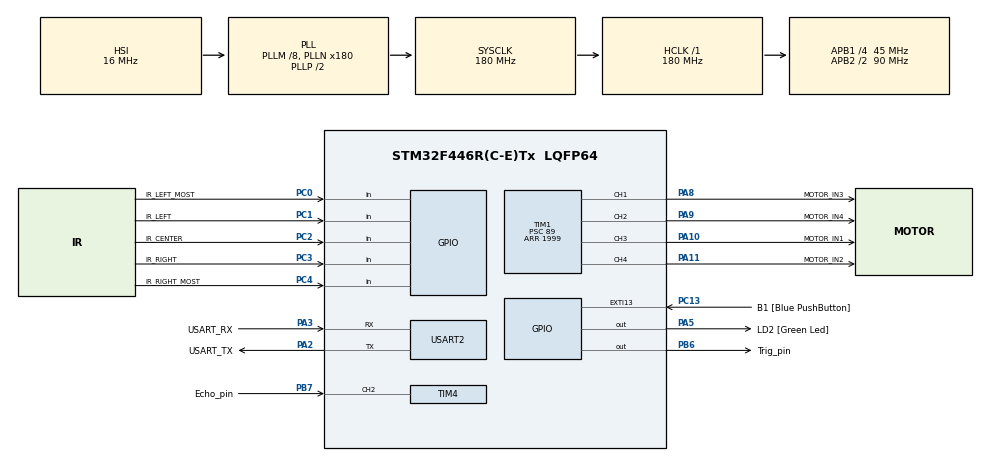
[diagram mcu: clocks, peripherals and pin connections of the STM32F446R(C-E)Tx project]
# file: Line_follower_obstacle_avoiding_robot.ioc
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FREERTOS.Tasks01=defaultTask,24,128,StartDefaultTask,Default,NULL,Dynamic,NULL,NULL
FREERTOS.configTOTAL_HEAP_SIZE=20480
FREERTOS.configUSE_IDLE_HOOK=1
FREERTOS.configUSE_NEWLIB_REENTRANT=1
Mcu.Family=STM32F4
Mcu.Name=STM32F446R(C-E)Tx
Mcu.Package=LQFP64
NVIC.PriorityGroup=NVIC_PRIORITYGROUP_4
NVIC.TIM1_TRG_COM_TIM11_IRQn=true\:5\:0\:false\:false\:true\:false\:false\:true\:true
NVIC.TIM2_IRQn=true\:15\:0\:false\:false\:true\:false\:false\:true\:true
NVIC.TIM4_IRQn=true\:5\:0\:false\:false\:true\:true\:true\:true\:true
NVIC.TimeBase=TIM2_IRQn
NVIC.TimeBaseIP=TIM2
PA10.GPIO_Label=MOTOR_IN1
PA10.Signal=S_TIM1_CH3
PA11.GPIO_Label=MOTOR_IN2
PA11.Signal=S_TIM1_CH4
PA13.GPIO_Label=TMS
PA13.Mode=Trace_Asynchronous_SW
PA13.Signal=SYS_JTMS-SWDIO
PA14.GPIO_Label=TCK
PA14.Mode=Trace_Asynchronous_SW
PA14.Signal=SYS_JTCK-SWCLK
PA2.GPIO_Label=USART_TX
PA2.Mode=Asynchronous
PA2.Signal=USART2_TX
PA3.GPIO_Label=USART_RX
PA3.Mode=Asynchronous
PA3.Signal=USART2_RX
PA5.GPIO_Label=LD2 [Green Led]
PA5.Signal=GPIO_Output
PA8.GPIO_Label=MOTOR_IN3
PA8.Signal=S_TIM1_CH1
PA9.GPIO_Label=MOTOR_IN4
PA9.Signal=S_TIM1_CH2
PB3.GPIO_Label=SWO
PB3.Mode=Trace_Asynchronous_SW
PB3.Signal=SYS_JTDO-SWO
PB6.GPIO_Label=Trig_pin
PB6.Signal=GPIO_Output
PB7.GPIO_Label=Echo_pin
PB7.Signal=S_TIM4_CH2
PC0.GPIO_Label=IR_LEFT_MOST
PC0.Signal=GPIO_Input
PC1.GPIO_Label=IR_LEFT
PC1.Signal=GPIO_Input
PC13.GPIO_Label=B1 [Blue PushButton]
PC13.GPIO_ModeDefaultEXTI=GPIO_MODE_IT_FALLING
PC13.Signal=GPXTI13
PC14-OSC32_IN.Signal=RCC_OSC32_IN
PC15-OSC32_OUT.Signal=RCC_OSC32_OUT
PC2.GPIO_Label=IR_CENTER
PC2.Signal=GPIO_Input
PC3.GPIO_Label=IR_RIGHT
PC3.Signal=GPIO_Input
PC4.GPIO_Label=IR_RIGHT_MOST
PC4.Signal=GPIO_Input
PH0-OSC_IN.Signal=RCC_OSC_IN
PH1-OSC_OUT.Signal=RCC_OSC_OUT
ProjectManager.HeapSize=0x200
ProjectManager.StackSize=0x400
ProjectManager.TargetToolchain=STM32CubeIDE
RCC.AHBFreq_Value=180000000
RCC.APB1CLKDivider=RCC_HCLK_DIV4
RCC.APB1Freq_Value=45000000
RCC.APB1TimFreq_Value=90000000
RCC.APB2CLKDivider=RCC_HCLK_DIV2
RCC.APB2Freq_Value=90000000
RCC.APB2TimFreq_Value=180000000
RCC.CortexFreq_Value=180000000
RCC.FLatency-AdvancedSettings=FLASH_LATENCY_5
RCC.HCLKFreq_Value=180000000
RCC.HSE_VALUE=8000000
RCC.HSI_VALUE=16000000
RCC.LSE_VALUE=32768
RCC.PLLM=8
RCC.PLLN=180
RCC.SYSCLKFreq_VALUE=180000000
RCC.SYSCLKSource=RCC_SYSCLKSOURCE_PLLCLK
RCC.USBFreq_Value=180000000
RCC.VCOOutputFreq_Value=360000000
SH.S_TIM1_CH1.0=TIM1_CH1,PWM Generation1 CH1
SH.S_TIM1_CH2.0=TIM1_CH2,PWM Generation2 CH2
SH.S_TIM1_CH3.0=TIM1_CH3,PWM Generation3 CH3
SH.S_TIM1_CH4.0=TIM1_CH4,PWM Generation4 CH4
SH.S_TIM4_CH2.0=TIM4_CH2,Input_Capture2_from_TI2
TIM1.AutoReloadPreload=TIM_AUTORELOAD_PRELOAD_ENABLE
TIM1.Channel-PWM\ Generation1\ CH1=TIM_CHANNEL_1
TIM1.Channel-PWM\ Generation2\ CH2=TIM_CHANNEL_2
TIM1.Channel-PWM\ Generation3\ CH3=TIM_CHANNEL_3
TIM1.Channel-PWM\ Generation4\ CH4=TIM_CHANNEL_4
TIM1.OCFastMode_PWM-PWM\ Generation1\ CH1=TIM_OCFAST_ENABLE
TIM1.OCFastMode_PWM-PWM\ Generation2\ CH2=TIM_OCFAST_ENABLE
TIM1.OCFastMode_PWM-PWM\ Generation3\ CH3=TIM_OCFAST_ENABLE
TIM1.OCFastMode_PWM-PWM\ Generation4\ CH4=TIM_OCFAST_ENABLE
TIM1.Period=1999
TIM1.Prescaler=89
TIM3.AutoReloadPreload=TIM_AUTORELOAD_PRELOAD_ENABLE
TIM3.Period=1999
TIM3.Prescaler=89
TIM4.Channel-Input_Capture2_from_TI2=TIM_CHANNEL_2
TIM4.ICFilter_CH2=4
TIM4.ICPolarity_CH2=TIM_INPUTCHANNELPOLARITY_BOTHEDGE
TIM4.Prescaler=89
USART2.VirtualMode=VM_ASYNC
VP_FREERTOS_VS_CMSIS_V2.Mode=CMSIS_V2
VP_SYS_VS_tim2.Mode=TIM2
VP_TIM1_VS_ClockSourceINT.Mode=Internal
VP_TIM3_VS_ClockSourceINT.Mode=Internal
VP_TIM4_VS_ClockSourceINT.Mode=Internal
board=NUCLEO-F446RE

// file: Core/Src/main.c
/* USER CODE BEGIN Header */
/**
  ******************************************************************************
  * @file           : main.c
  * @brief          : Main program body
  ******************************************************************************
  * @attention
  *
  *   Author: Hardik Agrawal
  *   Roll No= 22UEC045
  *
  * Copyright (c) 2025 STMicroelectronics.
  * All rights reserved.
  *
  * This software is licensed under terms that can be found in the LICENSE file
  * in the root directory of this software component.
  * If no LICENSE file comes with this software, it is provided AS-IS.
  *
  ******************************************************************************
  */
/* USER CODE END Header */
#include "main.h"
//#include "cmsis_os.h"

/* USER CODE BEGIN Includes */
#include "FreeRTOS.h"
#include "robot_tasks.h"
#include <stdio.h>

/* USER CODE END Includes */

TIM_HandleTypeDef htim1;
TIM_HandleTypeDef htim3;
TIM_HandleTypeDef htim4;
UART_HandleTypeDef huart2;

TaskHandle_t xLineFollowerTaskHandle = NULL;
TaskHandle_t xObstacleTaskHandle    = NULL;
TaskHandle_t xMotorTaskHandle       = NULL;
TaskHandle_t xMonitorTaskHandle     = NULL;

QueueHandle_t xMotorQueue           = NULL;
SemaphoreHandle_t xUltrasonicSemaphore = NULL;
SemaphoreHandle_t xUARTMutex        = NULL;
TimerHandle_t xSensorTimer          = NULL;
/* USER CODE END PV */

void SystemClock_Config(void);
static void MX_GPIO_Init(void);
static void MX_TIM3_Init(void);
static void MX_TIM4_Init(void);
static void MX_USART2_UART_Init(void);
static void MX_TIM1_Init(void);
void StartDefaultTask(void *argument);

/* USER CODE BEGIN 0 */

void HAL_TIM_IC_CaptureCallback(TIM_HandleTypeDef *htim)
{
   Ultrasonic_IC_Callback(htim);
}

int _write(int file, char *ptr, int len)
{
    if (xUARTMutex != NULL && xPortIsInsideInterrupt() == pdFALSE)
    {
        if (xSemaphoreTake(xUARTMutex, 0) == pdPASS)
        {
            HAL_UART_Transmit(&huart2, (uint8_t*)ptr, len, HAL_MAX_DELAY);
            xSemaphoreGive(xUARTMutex);
        }
        else
        {
            /* Mutex busy, drop this print to avoid blocking tasks */
        }
    }
    else
    {
        HAL_UART_Transmit(&huart2, (uint8_t*)ptr, len, HAL_MAX_DELAY);
    }
    return len;
}
/* USER CODE END 0 */

int main(void)
{

  /* MCU Configuration--------------------------------------------------------*/

  /* Reset of all peripherals, Initializes the Flash interface and the Systick. */
  HAL_Init();

  /* Configure the system clock */
  SystemClock_Config();

  /* USER CODE BEGIN SysInit */
   xTraceEnable(TRC_START);
  /* USER CODE END SysInit */

  /* Initialize all configured peripherals */
  MX_GPIO_Init();
  MX_TIM3_Init();
  MX_TIM4_Init();
  MX_USART2_UART_Init();
  MX_TIM1_Init();
  /* USER CODE BEGIN 2 */

  /* Start PWM on all 4 Motor Direction Pins */
  HAL_TIM_PWM_Start(&htim1, TIM_CHANNEL_1); // IN3
  HAL_TIM_PWM_Start(&htim1, TIM_CHANNEL_2); // IN4
  HAL_TIM_PWM_Start(&htim1, TIM_CHANNEL_3); // IN1
  HAL_TIM_PWM_Start(&htim1, TIM_CHANNEL_4); // IN2

  /* Start Input Capture for Ultrasonic Echo */
  HAL_TIM_IC_Start_IT(&htim4, TIM_CHANNEL_2);
  BaseType_t result;
  /* Welcome Message */
 // printf("\r\n\r\n");
  printf("╔════════════════════════════════════════════╗\r\n");
  printf("║   Line Follower Robot - FreeRTOS           ║\r\n");
  printf("║          STM32F446RE Nucleo Board          ║\r\n");
  printf("║         With Obstacle Avoidance            ║\r\n");
  printf("╚════════════════════════════════════════════╝\r\n");
  printf("\r\n");
  printf("[INFO] System Clock: %lu MHz\r\n", SystemCoreClock / 1000000);
  printf("[INFO] FreeRTOS Version: %s\r\n", tskKERNEL_VERSION_NUMBER);
  printf("\r\n[INIT] Initializing FreeRTOS components...\r\n\r\n");

  // ---- MUTEX ----
  xUARTMutex = xSemaphoreCreateMutex();
  if (xUARTMutex) printf("[INIT] ✓ UART Mutex created\r\n");

  // ---- SEMAPHORE ----
  xUltrasonicSemaphore = xSemaphoreCreateBinary();
  if (xUltrasonicSemaphore) {
      xSemaphoreGive(xUltrasonicSemaphore);
      printf("[INIT] ✓ Ultrasonic Binary Semaphore created\r\n");
  }

  // ---- TIMER ----
  xSensorTimer = xTimerCreate("SensorTimer", pdMS_TO_TICKS(500), pdTRUE, 0, vSensorTimerCallback);
  if (xSensorTimer) {
      xTimerStart(xSensorTimer, 0);
      printf("[INIT] ✓ Sensor Timer created (500ms periodic)\r\n");
  }

  // ---- QUEUE ----
  xMotorQueue = xQueueCreate(10, sizeof(MotorCommand_t));
  if (xMotorQueue) printf("[INIT] ✓ Motor Command Queue created (10 items)\r\n");

  // ---- TASKS ----
 result = xTaskCreate(vLineFollowerTask, "LineFollower", 1024, NULL, 3, &xLineFollowerTaskHandle);
 if (result==pdPASS)
	 printf("[INIT] ✓ Line follower Task is created\r\n");
 else
	 printf("Line Follower Task is Not Created\r\n");

 result= xTaskCreate(vObstacleDetectionTask, "ObstacleDetect",1024, NULL,4, &xObstacleTaskHandle);
 if (result==pdPASS)
	 printf("[INIT] ✓ ObstacleDetectionTask is created\r\n");
 else
	 printf("ObstacleDetectionTask is Not Created\r\n");

 result=xTaskCreate(vMotorControlTask, "MotorControl", 512, NULL, 2, &xMotorTaskHandle);
 if (result==pdPASS)
	 printf("[INIT] ✓ MotorControlTask is created\r\n");
 else
	 printf("MotorControlTask is Not Created\r\n");

 result=xTaskCreate(vSystemMonitorTask, "SysMonitor",1024, NULL, 1, &xMonitorTaskHandle);
 if (result==pdPASS)
	 printf("[INIT] ✓ SystemMonitorTask is created\r\n");
 else
	 printf("SystemMonitorTask is Not Created\r\n");

  printf("\r\n[INIT] All tasks created successfully!\r\n");
  printf("[INIT] Starting FreeRTOS Scheduler...\r\n");
  printf("════════════════════════════════════════════\r\n\r\n");

  /* USER CODE END 2 */

  /* Init scheduler */
//  osKernelInitialize();

  /* Create the thread(s) */
  /* creation of defaultTask */
//  defaultTaskHandle = osThreadNew(StartDefaultTask, NULL, &defaultTask_attributes);

  /* USER CODE BEGIN RTOS_THREADS */
  /* add threads, ... */

  /* Start the scheduler */
  vTaskStartScheduler();

  /* Should never reach here */
  printf("[ERROR] Scheduler failed to start!\r\n");
  /* USER CODE END RTOS_THREADS */

  /* Start scheduler */
//  osKernelStart();

  /* We should never get here as control is now taken by the scheduler */

  /* Infinite loop */
  while (1)
  {

  }
}

void SystemClock_Config(void)
{
  RCC_OscInitTypeDef RCC_OscInitStruct = {0};
  RCC_ClkInitTypeDef RCC_ClkInitStruct = {0};

  /** Configure the main internal regulator output voltage
  */
  __HAL_RCC_PWR_CLK_ENABLE();
  __HAL_PWR_VOLTAGESCALING_CONFIG(PWR_REGULATOR_VOLTAGE_SCALE1);

  /** Initializes the RCC Oscillators according to the specified parameters
  * in the RCC_OscInitTypeDef structure.
  */
  RCC_OscInitStruct.OscillatorType = RCC_OSCILLATORTYPE_HSI;
  RCC_OscInitStruct.HSIState = RCC_HSI_ON;
  RCC_OscInitStruct.HSICalibrationValue = RCC_HSICALIBRATION_DEFAULT;
  RCC_OscInitStruct.PLL.PLLState = RCC_PLL_ON;
  RCC_OscInitStruct.PLL.PLLSource = RCC_PLLSOURCE_HSI;
  RCC_OscInitStruct.PLL.PLLM = 8;
  RCC_OscInitStruct.PLL.PLLN = 180;
  RCC_OscInitStruct.PLL.PLLP = RCC_PLLP_DIV2;
  RCC_OscInitStruct.PLL.PLLQ = 2;
  RCC_OscInitStruct.PLL.PLLR = 2;
  if (HAL_RCC_OscConfig(&RCC_OscInitStruct) != HAL_OK)
  {
    Error_Handler();
  }

  /** Activate the Over-Drive mode
  */
  if (HAL_PWREx_EnableOverDrive() != HAL_OK)
  {
    Error_Handler();
  }

  /** Initializes the CPU, AHB and APB buses clocks
  */
  RCC_ClkInitStruct.ClockType = RCC_CLOCKTYPE_HCLK|RCC_CLOCKTYPE_SYSCLK
                              |RCC_CLOCKTYPE_PCLK1|RCC_CLOCKTYPE_PCLK2;
  RCC_ClkInitStruct.SYSCLKSource = RCC_SYSCLKSOURCE_PLLCLK;
  RCC_ClkInitStruct.AHBCLKDivider = RCC_SYSCLK_DIV1;
  RCC_ClkInitStruct.APB1CLKDivider = RCC_HCLK_DIV4;
  RCC_ClkInitStruct.APB2CLKDivider = RCC_HCLK_DIV2;

  if (HAL_RCC_ClockConfig(&RCC_ClkInitStruct, FLASH_LATENCY_5) != HAL_OK)
  {
    Error_Handler();
  }
}

static void MX_TIM1_Init(void)
{

  TIM_ClockConfigTypeDef sClockSourceConfig = {0};
  TIM_MasterConfigTypeDef sMasterConfig = {0};
  TIM_OC_InitTypeDef sConfigOC = {0};
  TIM_BreakDeadTimeConfigTypeDef sBreakDeadTimeConfig = {0};

  htim1.Instance = TIM1;
  htim1.Init.Prescaler = 89;
  htim1.Init.CounterMode = TIM_COUNTERMODE_UP;
  htim1.Init.Period = 1999;
  htim1.Init.ClockDivision = TIM_CLOCKDIVISION_DIV1;
  htim1.Init.RepetitionCounter = 0;
  htim1.Init.AutoReloadPreload = TIM_AUTORELOAD_PRELOAD_ENABLE;
  if (HAL_TIM_Base_Init(&htim1) != HAL_OK)
  {
    Error_Handler();
  }
  sClockSourceConfig.ClockSource = TIM_CLOCKSOURCE_INTERNAL;
  if (HAL_TIM_ConfigClockSource(&htim1, &sClockSourceConfig) != HAL_OK)
  {
    Error_Handler();
  }
  if (HAL_TIM_PWM_Init(&htim1) != HAL_OK)
  {
    Error_Handler();
  }
  sMasterConfig.MasterOutputTrigger = TIM_TRGO_RESET;
  sMasterConfig.MasterSlaveMode = TIM_MASTERSLAVEMODE_DISABLE;
  if (HAL_TIMEx_MasterConfigSynchronization(&htim1, &sMasterConfig) != HAL_OK)
  {
    Error_Handler();
  }
  sConfigOC.OCMode = TIM_OCMODE_PWM1;
  sConfigOC.Pulse = 0;
  sConfigOC.OCPolarity = TIM_OCPOLARITY_HIGH;
  sConfigOC.OCNPolarity = TIM_OCNPOLARITY_HIGH;
  sConfigOC.OCFastMode = TIM_OCFAST_ENABLE;
  sConfigOC.OCIdleState = TIM_OCIDLESTATE_RESET;
  sConfigOC.OCNIdleState = TIM_OCNIDLESTATE_RESET;
  if (HAL_TIM_PWM_ConfigChannel(&htim1, &sConfigOC, TIM_CHANNEL_1) != HAL_OK)
  {
    Error_Handler();
  }
  if (HAL_TIM_PWM_ConfigChannel(&htim1, &sConfigOC, TIM_CHANNEL_2) != HAL_OK)
  {
    Error_Handler();
  }
  if (HAL_TIM_PWM_ConfigChannel(&htim1, &sConfigOC, TIM_CHANNEL_3) != HAL_OK)
  {
    Error_Handler();
  }
  if (HAL_TIM_PWM_ConfigChannel(&htim1, &sConfigOC, TIM_CHANNEL_4) != HAL_OK)
  {
    Error_Handler();
  }
  sBreakDeadTimeConfig.OffStateRunMode = TIM_OSSR_DISABLE;
  sBreakDeadTimeConfig.OffStateIDLEMode = TIM_OSSI_DISABLE;
  sBreakDeadTimeConfig.LockLevel = TIM_LOCKLEVEL_OFF;
  sBreakDeadTimeConfig.DeadTime = 0;
  sBreakDeadTimeConfig.BreakState = TIM_BREAK_DISABLE;
  sBreakDeadTimeConfig.BreakPolarity = TIM_BREAKPOLARITY_HIGH;
  sBreakDeadTimeConfig.AutomaticOutput = TIM_AUTOMATICOUTPUT_DISABLE;
  if (HAL_TIMEx_ConfigBreakDeadTime(&htim1, &sBreakDeadTimeConfig) != HAL_OK)
  {
    Error_Handler();
  }
  HAL_TIM_MspPostInit(&htim1);

}

static void MX_TIM3_Init(void)
{

  TIM_ClockConfigTypeDef sClockSourceConfig = {0};
  TIM_MasterConfigTypeDef sMasterConfig = {0};

  htim3.Instance = TIM3;
  htim3.Init.Prescaler = 89;
  htim3.Init.CounterMode = TIM_COUNTERMODE_UP;
  htim3.Init.Period = 1999;
  htim3.Init.ClockDivision = TIM_CLOCKDIVISION_DIV1;
  htim3.Init.AutoReloadPreload = TIM_AUTORELOAD_PRELOAD_ENABLE;
  if (HAL_TIM_Base_Init(&htim3) != HAL_OK)
  {
    Error_Handler();
  }
  sClockSourceConfig.ClockSource = TIM_CLOCKSOURCE_INTERNAL;
  if (HAL_TIM_ConfigClockSource(&htim3, &sClockSourceConfig) != HAL_OK)
  {
    Error_Handler();
  }
  sMasterConfig.MasterOutputTrigger = TIM_TRGO_RESET;
  sMasterConfig.MasterSlaveMode = TIM_MASTERSLAVEMODE_DISABLE;
  if (HAL_TIMEx_MasterConfigSynchronization(&htim3, &sMasterConfig) != HAL_OK)
  {
    Error_Handler();
  }

}

static void MX_TIM4_Init(void)
{

  TIM_ClockConfigTypeDef sClockSourceConfig = {0};
  TIM_MasterConfigTypeDef sMasterConfig = {0};
  TIM_IC_InitTypeDef sConfigIC = {0};

  htim4.Instance = TIM4;
  htim4.Init.Prescaler = 89;
  htim4.Init.CounterMode = TIM_COUNTERMODE_UP;
  htim4.Init.Period = 65535;
  htim4.Init.ClockDivision = TIM_CLOCKDIVISION_DIV1;
  htim4.Init.AutoReloadPreload = TIM_AUTORELOAD_PRELOAD_DISABLE;
  if (HAL_TIM_Base_Init(&htim4) != HAL_OK)
  {
    Error_Handler();
  }
  sClockSourceConfig.ClockSource = TIM_CLOCKSOURCE_INTERNAL;
  if (HAL_TIM_ConfigClockSource(&htim4, &sClockSourceConfig) != HAL_OK)
  {
    Error_Handler();
  }
  if (HAL_TIM_IC_Init(&htim4) != HAL_OK)
  {
    Error_Handler();
  }
  sMasterConfig.MasterOutputTrigger = TIM_TRGO_RESET;
  sMasterConfig.MasterSlaveMode = TIM_MASTERSLAVEMODE_DISABLE;
  if (HAL_TIMEx_MasterConfigSynchronization(&htim4, &sMasterConfig) != HAL_OK)
  {
    Error_Handler();
  }
  sConfigIC.ICPolarity = TIM_INPUTCHANNELPOLARITY_BOTHEDGE;
  sConfigIC.ICSelection = TIM_ICSELECTION_DIRECTTI;
  sConfigIC.ICPrescaler = TIM_ICPSC_DIV1;
  sConfigIC.ICFilter = 4;
  if (HAL_TIM_IC_ConfigChannel(&htim4, &sConfigIC, TIM_CHANNEL_2) != HAL_OK)
  {
    Error_Handler();
  }

}

static void MX_USART2_UART_Init(void)
{

  huart2.Instance = USART2;
  huart2.Init.BaudRate = 115200;
  huart2.Init.WordLength = UART_WORDLENGTH_8B;
  huart2.Init.StopBits = UART_STOPBITS_1;
  huart2.Init.Parity = UART_PARITY_NONE;
  huart2.Init.Mode = UART_MODE_TX_RX;
  huart2.Init.HwFlowCtl = UART_HWCONTROL_NONE;
  huart2.Init.OverSampling = UART_OVERSAMPLING_16;
  if (HAL_UART_Init(&huart2) != HAL_OK)
  {
    Error_Handler();
  }

}

static void MX_GPIO_Init(void)
{
  GPIO_InitTypeDef GPIO_InitStruct = {0};

  /* GPIO Ports Clock Enable */
  __HAL_RCC_GPIOC_CLK_ENABLE();
  __HAL_RCC_GPIOH_CLK_ENABLE();
  __HAL_RCC_GPIOA_CLK_ENABLE();
  __HAL_RCC_GPIOB_CLK_ENABLE();

  /*Configure GPIO pin Output Level */
  HAL_GPIO_WritePin(LD2_GPIO_Port, LD2_Pin, GPIO_PIN_RESET);

  /*Configure GPIO pin Output Level */
  HAL_GPIO_WritePin(Trig_pin_GPIO_Port, Trig_pin_Pin, GPIO_PIN_RESET);

  /*Configure GPIO pin : B1_Pin */
  GPIO_InitStruct.Pin = B1_Pin;
  GPIO_InitStruct.Mode = GPIO_MODE_IT_FALLING;
  GPIO_InitStruct.Pull = GPIO_NOPULL;
  HAL_GPIO_Init(B1_GPIO_Port, &GPIO_InitStruct);

  /*Configure GPIO pins : IR_LEFT_MOST_Pin IR_LEFT_Pin IR_CENTER_Pin IR_RIGHT_Pin
                           IR_RIGHT_MOST_Pin */
  GPIO_InitStruct.Pin = IR_LEFT_MOST_Pin|IR_LEFT_Pin|IR_CENTER_Pin|IR_RIGHT_Pin
                          |IR_RIGHT_MOST_Pin;
  GPIO_InitStruct.Mode = GPIO_MODE_INPUT;
  GPIO_InitStruct.Pull = GPIO_NOPULL;
  HAL_GPIO_Init(GPIOC, &GPIO_InitStruct);

  /*Configure GPIO pin : LD2_Pin */
  GPIO_InitStruct.Pin = LD2_Pin;
  GPIO_InitStruct.Mode = GPIO_MODE_OUTPUT_PP;
  GPIO_InitStruct.Pull = GPIO_NOPULL;
  GPIO_InitStruct.Speed = GPIO_SPEED_FREQ_LOW;
  HAL_GPIO_Init(LD2_GPIO_Port, &GPIO_InitStruct);

  /*Configure GPIO pin : Trig_pin_Pin */
  GPIO_InitStruct.Pin = Trig_pin_Pin;
  GPIO_InitStruct.Mode = GPIO_MODE_OUTPUT_PP;
  GPIO_InitStruct.Pull = GPIO_NOPULL;
  GPIO_InitStruct.Speed = GPIO_SPEED_FREQ_LOW;
  HAL_GPIO_Init(Trig_pin_GPIO_Port, &GPIO_InitStruct);

}

/* USER CODE BEGIN 4 */

void vApplicationStackOverflowHook(TaskHandle_t xTask, char *pcTaskName)
{
    // This will be called if stack overflow detected
    taskDISABLE_INTERRUPTS();
    printf("\r\n\r\n*** STACK OVERFLOW in task: %s ***\r\n\r\n", pcTaskName);
    while(1) {
        HAL_GPIO_TogglePin(GPIOA, GPIO_PIN_5); // Blink LED rapidly
        HAL_Delay(100);
    }
}

void vApplicationMallocFailedHook(void)
{
    taskDISABLE_INTERRUPTS();
    printf("\r\n\r\n*** MALLOC FAILED - Out of heap! ***\r\n\r\n");
    while(1) {
        HAL_GPIO_TogglePin(GPIOA, GPIO_PIN_5);
        HAL_Delay(200);
    }
}
/* USER CODE END 4 */

//void StartDefaultTask(void *argument)
//{
//  /* USER CODE BEGIN 5 */
//  /* Infinite loop */
//  for(;;)
//  {
//    osDelay(1);
//  }
//  /* USER CODE END 5 */
//}

void HAL_TIM_PeriodElapsedCallback(TIM_HandleTypeDef *htim)
{
  if (htim->Instance == TIM2)
  {
    HAL_IncTick();
  }
}

void Error_Handler(void)
{
  __disable_irq();
  while (1)
  {
  }
}
